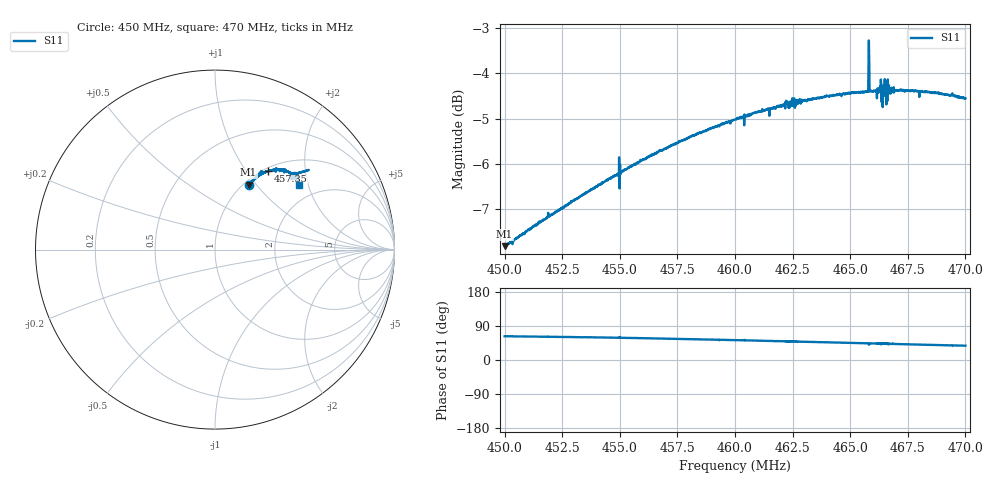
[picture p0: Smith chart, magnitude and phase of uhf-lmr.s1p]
! Calibrated averaged scanner-service zoom
# Hz S RI R 50
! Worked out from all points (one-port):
!   2001 points, 450 MHz to 470 MHz, reference 50 ohm
!   lowest |S11| = -7.8 dB at 450 MHz (marker M1), VSWR 2.37, Z = 52.7 + j45.7 ohm
!   |S11| at or under -10 dB: nowhere
!   S11 on the Smith chart (normalised r, x): 450 MHz: 1.05, +0.91; 457.35 MHz: 1.05, +1.27; 470 MHz: 1.57, +1.75
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4.5e8  0.1872 0.3613
4.525e8  0.218 0.3918
4.55e8  0.2514 0.4231
4.5511e8  0.2571 0.4198
4.5735e8  0.2952 0.4363
4.575e8  0.2976 0.4368
4.5888e8  0.3225 0.4429
4.6e8  0.342 0.4447
4.6049e8  0.3504 0.4448
4.6083e8  0.3571 0.4453
4.625e8  0.3836 0.4397
4.65e8  0.4224 0.4249
4.6568e8  0.4321 0.42
4.6573e8  0.432 0.4191
4.6586e8  0.4345 0.4182
4.659e8  0.4349 0.4177
4.6594e8  0.4356 0.4169
4.6619e8  0.4428 0.4154
4.6625e8  0.439 0.4136
4.6631e8  0.4438 0.4171
4.664e8  0.4355 0.4165
4.6646e8  0.4374 0.4041
4.6653e8  0.4379 0.4168
4.6671e8  0.4452 0.4121
4.6684e8  0.4449 0.4075
4.675e8  0.4524 0.399
4.6874e8  0.4627 0.3821
4.7e8  0.4681 0.3625
